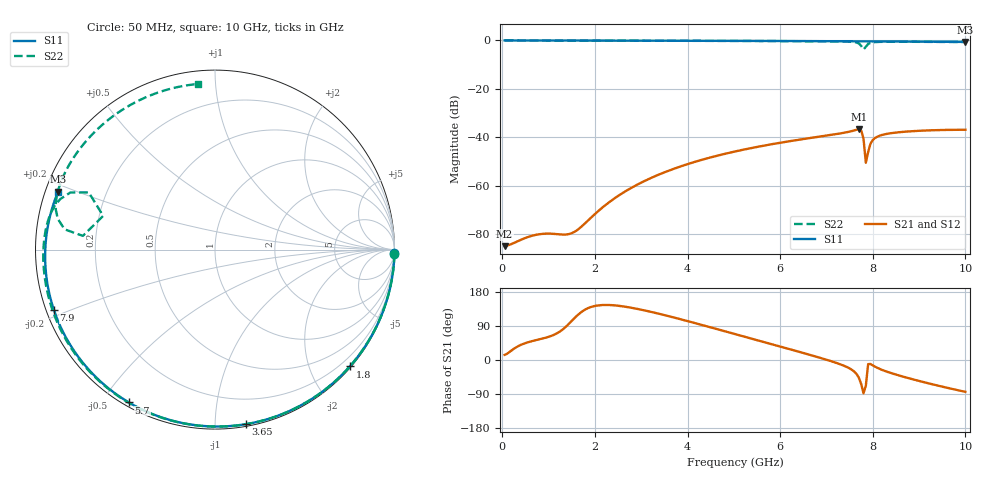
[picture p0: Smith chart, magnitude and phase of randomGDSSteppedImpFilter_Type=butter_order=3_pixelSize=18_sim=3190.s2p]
! freq	dB(S11)	phase(S11)	dB(S12)	phase(S12)
!  dB(S21)	phase(S21)	dB(S22)	phase(S22)
!S-par simulation data
#  GHz  S  DB  R 50
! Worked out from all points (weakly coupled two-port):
!   200 points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, 50 MHz to 10 GHz, reference 50 ohm
!   highest |S21| = -36.73 dB at 7.7 GHz (marker M1); lowest = -85.0 dB at 50 MHz (marker M2)
!   lowest |S11| = -0.6 dB at 10 GHz (marker M3), VSWR 28.41, Z = 1.82 + j8.92 ohm
!   |S11| at or under -10 dB: nowhere
!   |S22| runs from -3.7 to 0.0 dB; largest |S21 - S12| = 0
!   S11 on the Smith chart (normalised r, x): 50 MHz: 0, -99; 1.8 GHz: 0.02, -2.68; 3.65 GHz: 0.01, -1.19; 5.7 GHz: 0.02, -0.58; 7.9 GHz: 0.02, -0.18; 10 GHz: 0.04, +0.18
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0.05  -0.00 -1.2  -85.03 13.5  -85.03 13.5  -0.00 -1.3
0.75  -0.02 -17.3  -80.24 53.0  -80.24 53.0  -0.02 -19.9
1.45  -0.04 -33.1  -79.97 96.9  -79.97 96.9  -0.05 -38.1
1.75  -0.05 -39.8  -76.24 130.2  -76.24 130.2  -0.06 -45.8
1.8  -0.05 -40.9  -75.34 133.8  -75.34 133.8  -0.06 -47.1
2.5  -0.07 -56.1  -64.27 143.2  -64.27 143.2  -0.08 -64.7
3.4  -0.10 -74.9  -55.28 121.6  -55.28 121.6  -0.12 -86.8
3.65  -0.11 -80.0  -53.42 113.9  -53.42 113.9  -0.13 -92.8
5.05  -0.16 -107.2  -45.79 67.6  -45.79 67.6  -0.20 -126.1
5.7  -0.20 -119.4  -43.29 45.7  -43.29 45.7  -0.24 -141.7
6.7  -0.26 -137.7  -40.18 11.6  -40.18 11.6  -0.33 -166.8
7.4  -0.32 -150.4  -38.08 -16.3  -38.08 -16.3  -0.45 173.0
7.7  -0.35 -155.9  -36.73 -46.8  -36.73 -46.8  -1.25 158.4
7.75  -0.35 -156.8  -37.15 -63.4  -37.15 -63.4  -2.24 155.6
7.8  -0.36 -157.7  -40.56 -87.8  -40.56 -87.8  -3.73 163.2
7.85  -0.37 -158.6  -50.56 -68.2  -50.56 -68.2  -2.61 174.1
7.9  -0.37 -159.5  -46.10 -10.8  -46.10 -10.8  -1.46 172.3
7.95  -0.37 -160.5  -42.70 -10.5  -42.70 -10.5  -0.98 168.9
8.05  -0.38 -162.3  -40.31 -17.7  -40.31 -17.7  -0.68 163.4
8.35  -0.41 -167.9  -38.46 -32.7  -38.46 -32.7  -0.54 151.9
9.25  -0.52 174.9  -37.14 -63.0  -37.14 -63.0  -0.59 122.1
10  -0.61 159.7  -36.91 -84.0  -36.91 -84.0  -0.65 95.8
